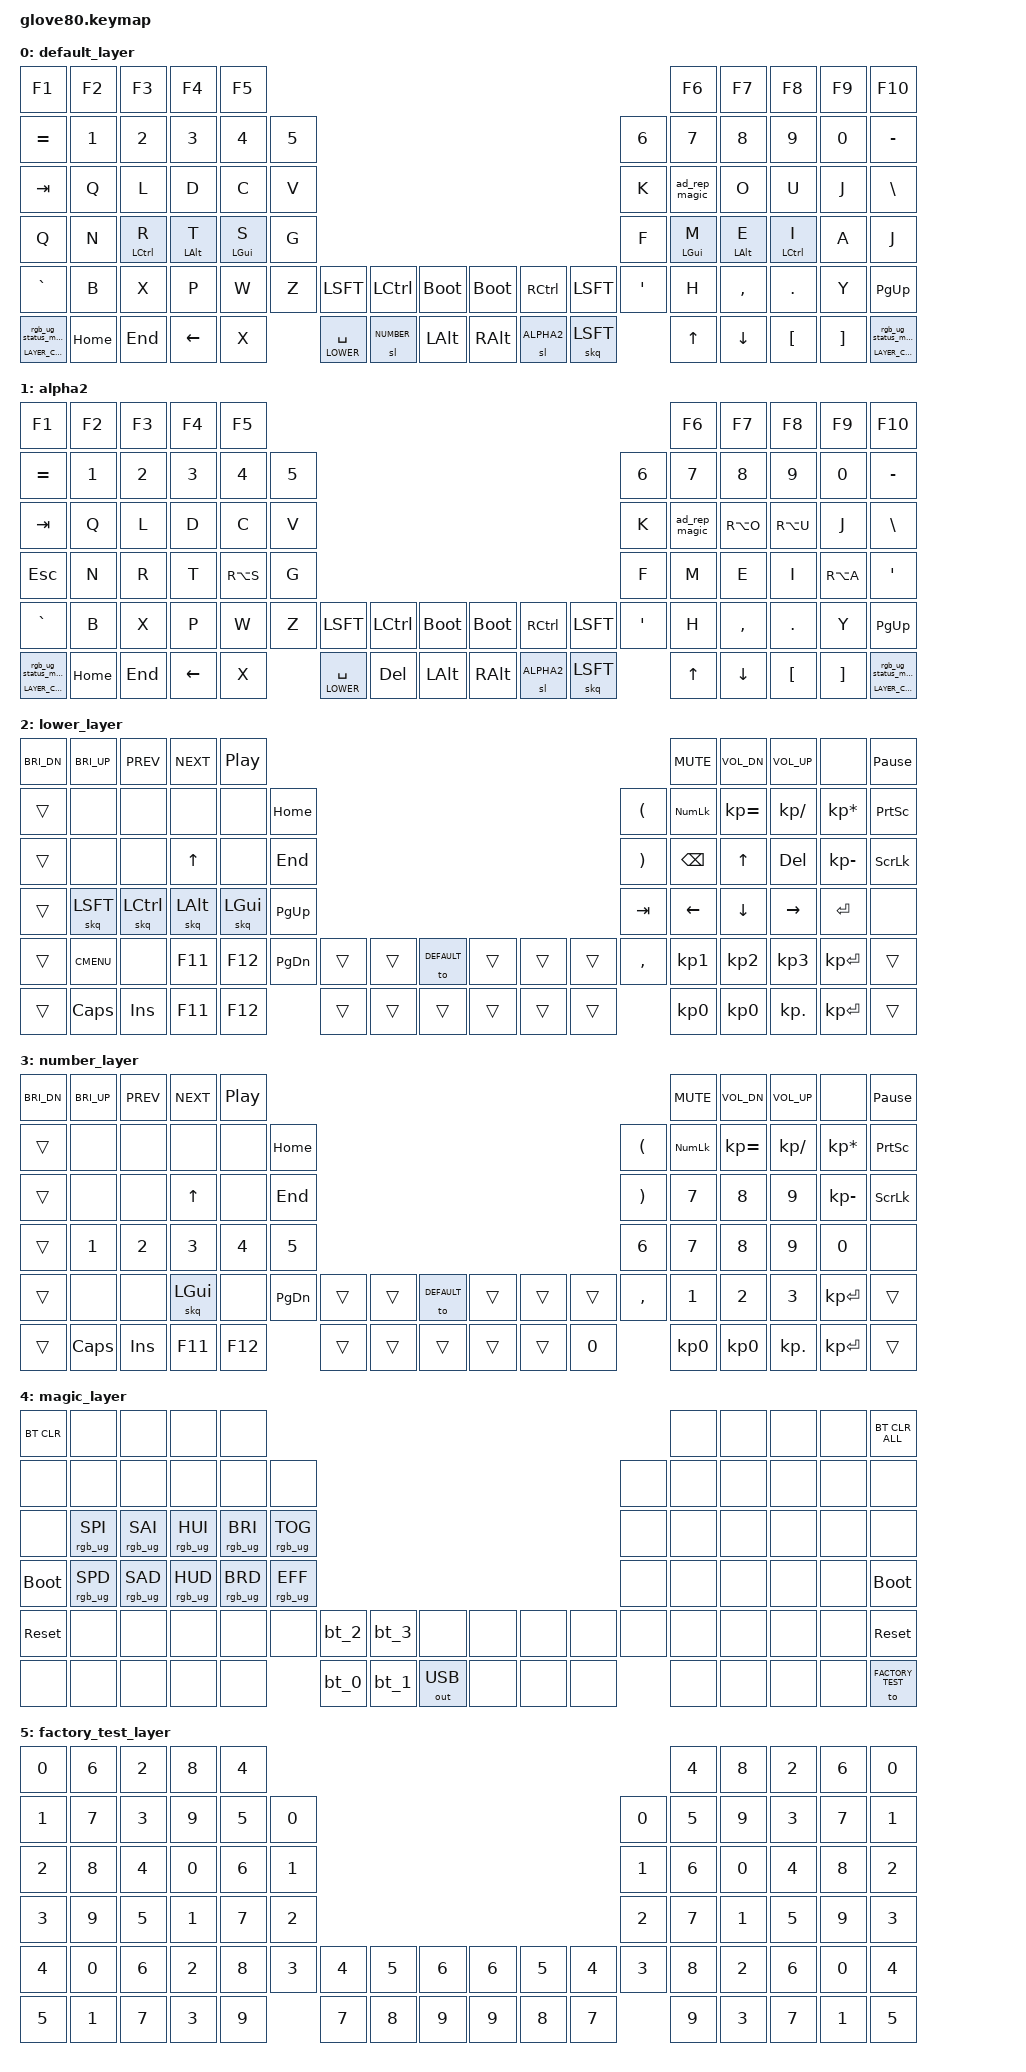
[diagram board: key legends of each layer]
/*
 * Copyright (c) 2020 The ZMK Contributors
 *
 * SPDX-License-Identifier: MIT
 */
#include <behaviors.dtsi>

#include <dt-bindings/zmk/keys.h>
#include <dt-bindings/zmk/bt.h>
#include <dt-bindings/zmk/ext_power.h>
#include <dt-bindings/zmk/outputs.h>
#include <dt-bindings/zmk/rgb.h>



#include "glove80.h"


#define my_tapping_term 170
#define my_quick_tapping_term 55

#define HYPER LC(LS(LG(LALT)))
#define CONFIG &config_layer LAYER_CONFIG 0

// layers
#define DEFAULT       0
#define ALPHA2        1
#define LOWER         2
#define NUMBER        3
#define LAYER_CONFIG  4
#define FACTORY_TEST  5

// #define CONFIG &config_layer LAYER_CONFIG 0
#define NAV_SPC &lt LOWER SPACE
#define PUQ &sl ALPHA2
#define NUM &sl NUMBER

#define HOME_R &hml LCTL R
#define HOME_T &hml LALT T
#define HOME_S &hml LGUI S
#define HOME_W &lt NUMBER W

#define HOME_M &hmr LGUI M
#define HOME_E &hmr LALT E
#define HOME_I &hmr LCTL I

#include "altrepeat.dtsi"



// see https://github.com/theol0403/anachron-zmk-config/blob/master/config/rollow.keymap
#define     my_hrm_config \
            compatible = "zmk,behavior-hold-tap"; \
            #binding-cells = <2>; \
            flavor = "balanced"; \
            hold-trigger-on-release; \
            tapping-term-ms = <500>; \
            quick-tap-ms = <175>; \
            require-prior-idle-ms = <200>

&mt {
    tapping-term-ms = <my_tapping_term>;
};
&sl {
    release-after-ms = <my_tapping_term>;
    ignore-modifiers;          // allow chording sticky mods & layers
};
&caps_word {
    continue-list = <UNDER MINUS BSPC DEL LEFT RIGHT>;
};

&sk { quick-release; };

/ {
    combos {
        compatible = "zmk,combos";
        combo_esc {
            timeout-ms = <50>;
            key-positions = <LM4 LM3>;
            bindings = <&kp ESC>;
        };
    };
};

/ {

    #include "combos.dtsi"

    behaviors {      
        config_layer: config_hold_tap {
            compatible = "zmk,behavior-hold-tap";
            label = "MAGIC_HOLD_TAP";
            #binding-cells = <2>;
            flavor = "tap-preferred";
            tapping-term-ms = <200>;
            bindings = <&mo>, <&rgb_ug_status_macro>;
        };

        skq: sticky_key_quick_release {
            compatible = "zmk,behavior-sticky-key";
            #binding-cells = <1>;
            bindings = <&kp>;
            release-after-ms = <1000>;
            quick-release;
            ignore-modifiers;
        };
        // For the "layer" key, it'd nice to be able to use it as either a shift or a toggle.
        // Configure it as a tap dance, so the first tap (or hold) is a &mo and the second tap is a &to
        layer_td: tap_dance_0 {
            compatible = "zmk,behavior-tap-dance";
            label = "LAYER_TAP_DANCE";
            #binding-cells = <0>;
            tapping-term-ms = <200>;
            bindings = <&mo LOWER>, <&to LOWER>;
        };

        hmr: homerow_mods_right { // use on right hand to mod left
            my_hrm_config;            
            bindings = <&kp>, <&kp>;
            hold-trigger-key-positions = <KEYS_L THUMBS>; // left hand allowed
        };

        hml: homerow_mods_left { // use on left hand to mod right
            my_hrm_config;
            bindings = <&kp>, <&kp>;            
            hold-trigger-key-positions = <KEYS_R THUMBS>; // right hand allowed
        };

        LParen: LParen {
            compatible = "zmk,behavior-mod-morph";
            #binding-cells = <0>;
            bindings = <&kp LPAR>, <&kp LT>;
            mods = <(MOD_LSFT|MOD_RSFT)>;
        };
        RParen: RParen {
            compatible = "zmk,behavior-mod-morph";
            #binding-cells = <0>;
            bindings = <&kp RPAR>, <&kp GT>;
            mods = <(MOD_LSFT|MOD_RSFT)>;
        };
    };

    macros {

        ch: ch {
            label = "CH";
            compatible = "zmk,behavior-macro";
            #binding-cells = <0>;
            bindings = <&kp C>
                     , <&kp H>;
        };
        
        ou: ou {
            label = "OU";
            compatible = "zmk,behavior-macro";
            #binding-cells = <0>;
            bindings = <&kp O>
                     , <&kp U>;
        };

        rgb_ug_status_macro: rgb_ug_status_macro {
            label = "RGB_UG_STATUS";
            compatible = "zmk,behavior-macro";
            #binding-cells = <0>;
            bindings = <&rgb_ug RGB_STATUS>;
        };

        bt_0: bt_profile_macro_0 {
            label = "BT_0";
            compatible = "zmk,behavior-macro";
            #binding-cells = <0>;
            bindings
                = <&out OUT_BLE>,
                  <&bt BT_SEL 0>;
        };

        bt_1: bt_profile_macro_1 {
            label = "BT_1";
            compatible = "zmk,behavior-macro";
            #binding-cells = <0>;
            bindings
                = <&out OUT_BLE>,
                  <&bt BT_SEL 1>;
        };

        bt_2: bt_profile_macro_2 {
            label = "BT_2";
            compatible = "zmk,behavior-macro";
            #binding-cells = <0>;
            bindings
                = <&out OUT_BLE>,
                  <&bt BT_SEL 2>;
        };

        bt_3: bt_profile_macro_3 {
            label = "BT_3";
            compatible = "zmk,behavior-macro";
            #binding-cells = <0>;
            bindings
                = <&out OUT_BLE>,
                  <&bt BT_SEL 3>;
        };
    };

    keymap {
        compatible = "zmk,keymap";

        default_layer {
            bindings = <
            &kp F1         &kp F2   &kp F3      &kp F4      &kp F5                                                                                                   &kp F6         &kp F7      &kp F8      &kp F9      &kp F10
            &kp EQUAL      &kp N1   &kp N2      &kp N3      &kp N4        &kp N5                                                                          &kp N6     &kp N7         &kp N8      &kp N9      &kp N0      &kp MINUS
            &kp TAB        &kp Q    &kp L       &kp D       &kp C         &kp V                                                                           &kp K      &ad_rep_magic  &kp O       &kp U       &kp J       &kp BSLH
            &kp Q          &kp N    HOME_R      HOME_T      HOME_S        &kp G                                                                           &kp F      HOME_M         HOME_E      HOME_I      &kp A       &kp J
            &kp GRAVE      &kp B    &kp X       &kp P       &kp W         &kp Z   &kp LSFT    &kp LCTRL   &bootloader  &bootloader  &kp RCTRL &kp LSFT    &kp SQT    &kp H          &kp COMMA   &kp DOT     &kp Y       &kp PG_UP
            CONFIG         &kp HOME &kp END     &kp LEFT    &kp X                 NAV_SPC     NUM         &kp LALT     &kp RALT     PUQ       &skq LSFT              &kp UP         &kp DOWN    &kp LBKT    &kp RBKT    CONFIG
            >;
        };

        alpha2 {
            bindings = <
            &kp F1         &kp F2   &kp F3      &kp F4      &kp F5                                                                                                   &kp F6         &kp F7      &kp F8      &kp F9      &kp F10
            &kp EQUAL      &kp N1   &kp N2      &kp N3      &kp N4        &kp N5                                                                          &kp N6     &kp N7         &kp N8      &kp N9      &kp N0      &kp MINUS
            &kp TAB        &kp Q    &kp L       &kp D       &kp C         &kp V                                                                           &kp K      &ad_rep_magic  &kp RA(O)   &kp RA(U)   &kp J       &kp BSLH
            &kp ESC        &kp N    &kp R       &kp T       &kp RA(S)     &kp G                                                                           &kp F      &kp M          &kp E       &kp I       &kp RA(A)   &kp SQT
            &kp GRAVE      &kp B    &kp X       &kp P       &kp W         &kp Z   &kp LSFT    &kp LCTRL   &bootloader  &bootloader  &kp RCTRL &kp LSFT    &kp SQT    &kp H          &kp COMMA   &kp DOT     &kp Y       &kp PG_UP
            CONFIG         &kp HOME &kp END     &kp LEFT    &kp X                 NAV_SPC     &kp DEL     &kp LALT     &kp RALT     PUQ       &skq LSFT              &kp UP         &kp DOWN    &kp LBKT    &kp RBKT    CONFIG
            >;
        };

        lower_layer {
            bindings = <
            &kp C_BRI_DN      &kp C_BRI_UP        &kp C_PREV      &kp C_NEXT      &kp C_PP                                                                                                           &kp C_MUTE    &kp C_VOL_DN &kp C_VOL_UP  &none           &kp PAUSE_BREAK
            &trans            &none               &none           &none           &none           &kp HOME                                                                              &kp LPAR     &kp KP_NUM    &kp KP_EQUAL &kp KP_DIVIDE &kp KP_MULTIPLY &kp PSCRN
            &trans            &none               &none           &kp UP          &none           &kp END                                                                               &kp RPAR     &kp BACKSPACE &kp UP       &kp DELETE    &kp KP_MINUS    &kp SLCK
            &trans            &skq LSFT           &skq LCTL       &skq LALT       &skq LGUI       &kp PG_UP                                                                             &kp TAB      &kp LEFT      &kp DOWN     &kp RIGHT     &kp ENTER       &none
            &trans            &kp K_CMENU         &none           &kp F11         &kp F12         &kp PG_DN       &trans      &trans      &to DEFAULT &trans      &trans      &trans    &kp COMMA    &kp KP_N1     &kp KP_N2    &kp KP_N3     &kp KP_ENTER    &trans
            &trans            &kp CAPS            &kp INS         &kp F11         &kp F12                         &trans      &trans      &trans      &trans      &trans      &trans                 &kp KP_N0     &kp KP_N0    &kp KP_DOT    &kp KP_ENTER    &trans
            >;
        };
        number_layer {
            bindings = <
            &kp C_BRI_DN      &kp C_BRI_UP        &kp C_PREV      &kp C_NEXT      &kp C_PP                                                                                                           &kp C_MUTE    &kp C_VOL_DN &kp C_VOL_UP  &none           &kp PAUSE_BREAK
            &trans            &none               &none           &none           &none         &kp HOME                                                                              &kp LPAR     &kp KP_NUM    &kp KP_EQUAL &kp KP_DIVIDE &kp KP_MULTIPLY &kp PSCRN
            &trans            &none               &none           &kp UP          &none         &kp END                                                                               &kp RPAR     &kp N7        &kp N8       &kp N9        &kp KP_MINUS    &kp SLCK
            &trans            &kp N1              &kp N2          &kp N3          &kp N4        &kp N5                                                                                &kp N6       &kp N7        &kp N8       &kp N9        &kp N0          &none
            &trans            &none               &none           &skq LGUI       &none         &kp PG_DN       &trans      &trans      &to DEFAULT &trans      &trans      &trans    &kp COMMA    &kp N1        &kp N2       &kp N3        &kp KP_ENTER    &trans
            &trans            &kp CAPS            &kp INS         &kp F11         &kp F12                       &trans      &trans      &trans      &trans      &trans      &kp N0                 &kp KP_N0     &kp KP_N0    &kp KP_DOT    &kp KP_ENTER    &trans
            >;
        };

        magic_layer {
            bindings = <
            &bt BT_CLR        &none               &none           &none           &none                                                                                                           &none      &none      &none      &none      &bt BT_CLR_ALL
            &none             &none               &none           &none           &none           &none                                                                                &none      &none      &none      &none      &none      &none
            &none             &rgb_ug RGB_SPI     &rgb_ug RGB_SAI &rgb_ug RGB_HUI &rgb_ug RGB_BRI &rgb_ug RGB_TOG                                                                      &none      &none      &none      &none      &none      &none
            &bootloader       &rgb_ug RGB_SPD     &rgb_ug RGB_SAD &rgb_ug RGB_HUD &rgb_ug RGB_BRD &rgb_ug RGB_EFF                                                                      &none      &none      &none      &none      &none      &bootloader
            &sys_reset        &none               &none           &none           &none           &none           &bt_2     &bt_3     &none            &none     &none     &none       &none      &none      &none      &none      &none      &sys_reset
            &none             &none               &none           &none           &none                           &bt_0     &bt_1     &out OUT_USB     &none     &none     &none                  &none      &none      &none      &none      &to FACTORY_TEST
            >;
        };
        factory_test_layer {
            bindings = <
            &kp N0   &kp N6   &kp N2   &kp N8   &kp N4                                                                              &kp N4   &kp N8   &kp N2   &kp N6   &kp N0
            &kp N1   &kp N7   &kp N3   &kp N9   &kp N5   &kp N0                                                            &kp N0   &kp N5   &kp N9   &kp N3   &kp N7   &kp N1
            &kp N2   &kp N8   &kp N4   &kp N0   &kp N6   &kp N1                                                            &kp N1   &kp N6   &kp N0   &kp N4   &kp N8   &kp N2
            &kp N3   &kp N9   &kp N5   &kp N1   &kp N7   &kp N2                                                            &kp N2   &kp N7   &kp N1   &kp N5   &kp N9   &kp N3
            &kp N4   &kp N0   &kp N6   &kp N2   &kp N8   &kp N3   &kp N4   &kp N5   &kp N6      &kp N6   &kp N5   &kp N4   &kp N3   &kp N8   &kp N2   &kp N6   &kp N0   &kp N4
            &kp N5   &kp N1   &kp N7   &kp N3   &kp N9            &kp N7   &kp N8   &kp N9      &kp N9   &kp N8   &kp N7            &kp N9   &kp N3   &kp N7   &kp N1   &kp N5
            >;
        };
    };
};
